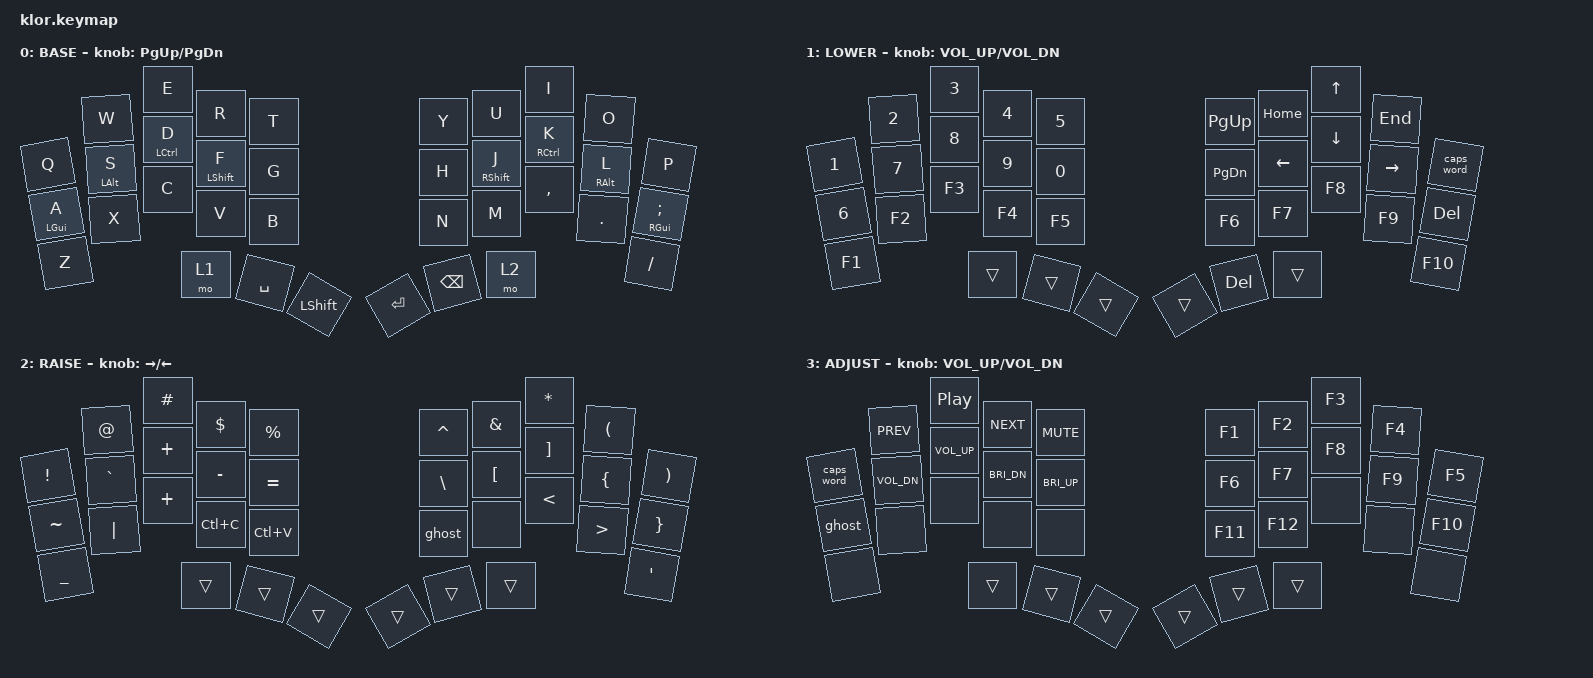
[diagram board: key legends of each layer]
#include <behaviors.dtsi>
#include <dt-bindings/zmk/keys.h>

#define BASE   0
#define LOWER  1
#define RAISE  2
#define ADJUST 3

&mt {
    tapping-term-ms = <200>;
    quick-tap-ms = <125>;
    flavor = "tap-preferred";
};

/ {
    behaviors {
        showscreen: showscreen {
            compatible = "zmk,behavior-tap-dance";
            label = "SHOWSCREEN";
            #binding-cells = <0>;
            bindings = <&kp LC(UP_ARROW)>, <&kp LG(UP_ARROW)>;
        };
    };

    combos {
        compatible = "zmk,combos";

        lockscreen {
            bindings = <&kp LG(LC(Q))>;
            key-positions = <4 5>;
        };

        printscreen {
            bindings = <&kp LG(RS(N5))>;
            key-positions = <15 16>;
        };

        Escape {
            bindings = <&kp ESCAPE>;
            key-positions = <0 1>;
            layers = <0>;
        };

        Tab {
            bindings = <&kp TAB>;
            key-positions = <1 2>;
            layers = <0>;
        };

        backslash {
            bindings = <&kp BACKSLASH>;
            key-positions = <8 9>;
            layers = <0>;
        };
    };

    macros {
        new_line: new_line {
            compatible = "zmk,behavior-macro";
            #binding-cells = <0>;
            bindings = <&kp LC(E) &kp ENTER>;
            label = "NEW_LINE";
        };

        ghost: ghost {
            compatible = "zmk,behavior-macro";
            #binding-cells = <0>;
            bindings = <&kp ASTRK &kp LS(I) &kp F &kp UNDER &kp LS(Y) &kp O &kp U &kp UNDER &kp LS(H) &kp A &kp V &kp E &kp UNDER &kp LS(G) &kp H &kp O &kp S &kp T &kp S>;
            label = "GHOST";
        };
    };

    keymap {
        compatible = "zmk,keymap";

        base_layer {
            label = "BASE";
            bindings = <
  &kp Q       &kp W       &kp E        &kp R           &kp T  &kp Y  &kp U         &kp I        &kp O          &kp P
  &mt LGUI A  &mt LALT S  &mt LCTRL D  &mt LSHIFT F    &kp G  &kp H  &mt RSHIFT J  &mt RCTRL K  &mt RALT L     &mt RGUI SEMICOLON
  &kp Z       &kp X       &kp C        &kp V           &kp B  &kp N  &kp M         &kp COMMA    &kp DOT        &kp SLASH
              &mo 1       &kp SPACE    &kp LEFT_SHIFT                              &kp ENTER    &kp BACKSPACE  &mo 2
            >;
            sensor-bindings = <&inc_dec_kp PG_UP PG_DN>;
        };

        lower_layer {
            label = "LOWER";
            bindings = <
  &kp NUMBER_1  &kp NUMBER_2  &kp NUMBER_3  &kp NUMBER_4  &kp NUMBER_5  &kp PAGE_UP    &kp HOME  &kp UP_ARROW  &kp END     &caps_word
  &kp NUMBER_6  &kp NUMBER_7  &kp NUMBER_8  &kp NUMBER_9  &kp NUMBER_0  &kp PAGE_DOWN  &kp LEFT  &kp DOWN      &kp RIGHT   &kp DEL
  &kp F1        &kp F2        &kp F3        &kp F4        &kp F5        &kp F6         &kp F7    &kp F8        &kp F9      &kp F10
                &trans        &trans        &trans                                   &trans        &kp DELETE  &trans
            >;
            sensor-bindings = <&inc_dec_kp C_VOL_UP C_VOL_DN>;
        };

        raise_layer {
            label = "RAISE";
            bindings = <
  &kp EXCLAMATION  &kp AT_SIGN  &kp HASH  &kp DOLLAR  &kp PERCENT  &kp CARET      &kp AMPERSAND     &kp ASTERISK       &kp LEFT_PARENTHESIS  &kp RIGHT_PARENTHESIS
  &kp TILDE        &kp GRAVE    &kp PLUS  &kp MINUS   &kp EQUAL    &kp BACKSLASH  &kp LEFT_BRACKET  &kp RIGHT_BRACKET  &kp LEFT_BRACE        &kp RIGHT_BRACE
  &kp UNDERSCORE   &kp PIPE     &kp PLUS  &kp LC(C)   &kp LC(V)    &ghost         &none             &kp LESS_THAN      &kp GREATER_THAN      &kp SINGLE_QUOTE
                   &trans       &trans    &trans                                  &trans             &trans                &trans
            >;
            sensor-bindings = <&inc_dec_kp RIGHT LEFT>;
        };

        adjust {
            label = "ADJUST";
            bindings = <
  &caps_word  &kp C_PREV    &kp C_PP      &kp C_NEXT    &kp C_MUTE    &kp F1   &kp F2   &kp F3  &kp F4  &kp F5
  &ghost      &kp C_VOL_DN  &kp C_VOL_UP  &kp C_BRI_DN  &kp C_BRI_UP  &kp F6   &kp F7   &kp F8  &kp F9  &kp F10
  &none       &none         &none         &none         &none         &kp F11  &kp F12  &none   &none   &none
              &trans        &trans        &trans                      &trans  &trans  &trans
            >;
            sensor-bindings = <&inc_dec_kp C_VOL_UP C_VOL_DN>;
        };
    };
};
